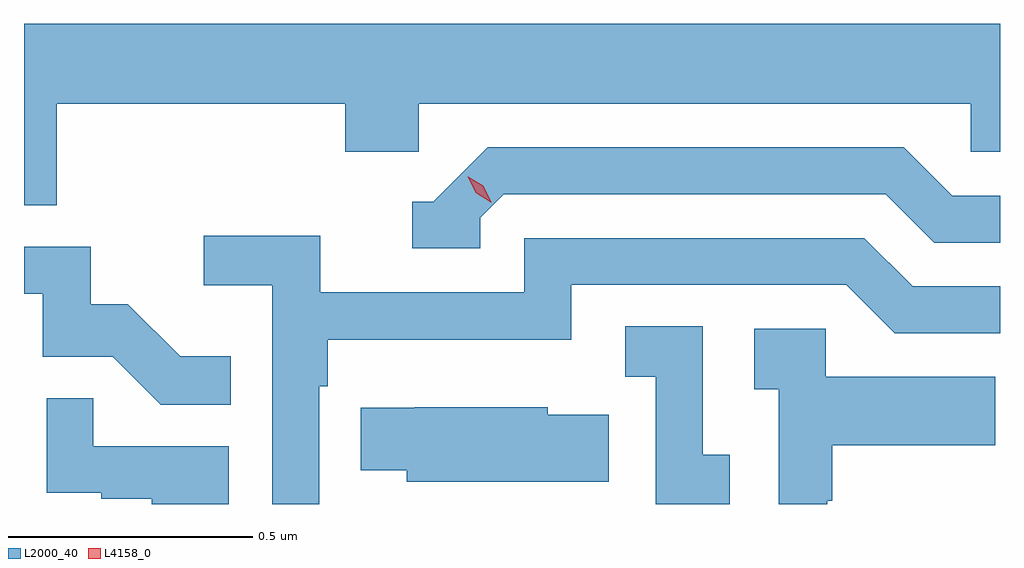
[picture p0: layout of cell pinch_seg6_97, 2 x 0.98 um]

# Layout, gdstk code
import gdstk
lib = gdstk.Library(unit=1e-6, precision=1e-09)
def P(c, l, *ps):  # polygons
    for p in ps: c.add(gdstk.Polygon(p, *l))
L2000_40 = (2000, 40)
L4158_0 = (4158, 0)

pinch_seg6_97 = lib.new_cell('pinch_seg6_97')
P(pinch_seg6_97, L2000_40, [(934.61,919.364),(935.201,919.364),(935.201,919.266),(935.352,919.266),(935.352,919.364),(936.483,919.364),(936.483,919.266),(936.543,919.266),(936.543,919.528),(934.543,919.528),(934.543,919.156),(934.61,919.156)],
  [(935.478,919.131),(935.526,919.179),(936.309,919.179),(936.408,919.08),(936.543,919.08),(936.543,919.176),(936.445,919.176),(936.346,919.275),(935.493,919.275),(935.382,919.164),(935.339,919.164),(935.339,919.068),(935.478,919.068)],
  [(935.148,918.785),(935.165,918.785),(935.165,918.881),(935.664,918.881),(935.664,918.993),(936.228,918.993),(936.327,918.894),(936.543,918.894),(936.543,918.99),(936.364,918.99),(936.265,919.089),(935.568,919.089),(935.568,918.978),(935.15,918.978),(935.15,919.094),(934.911,919.094),(934.911,918.992),(935.052,918.992),(935.052,918.544),(935.148,918.544)],
  [(934.967,918.847),(934.863,918.847),(934.756,918.954),(934.68,918.954),(934.68,919.071),(934.543,919.071),(934.543,918.975),(934.581,918.975),(934.581,918.846),(934.725,918.846),(934.823,918.748),(934.967,918.748)],
  [(935.989,918.645),(935.934,918.645),(935.934,918.908),(935.775,918.908),(935.775,918.805),(935.838,918.805),(935.838,918.544),(935.989,918.544)],
  [(936.189,918.551),(936.199,918.551),(936.199,918.665),(936.533,918.665),(936.533,918.805),(936.186,918.805),(936.186,918.903),(936.039,918.903),(936.039,918.779),(936.09,918.779),(936.09,918.544),(936.189,918.544)],
  [(934.963,918.663),(934.685,918.663),(934.685,918.761),(934.59,918.761),(934.59,918.567),(934.701,918.567),(934.701,918.555),(934.805,918.555),(934.805,918.544),(934.963,918.544)],
  [(935.741,918.727),(935.616,918.727),(935.616,918.742),(935.344,918.742),(935.344,918.741),(935.233,918.741),(935.233,918.613),(935.327,918.613),(935.327,918.59),(935.741,918.59)])
P(pinch_seg6_97, L4158_0, [(935.499,919.163),(935.469,919.182),(935.452,919.215),(935.452,919.215),(935.453,919.215),(935.484,919.196),(935.5,919.163),(935.5,919.163)])

lib.write_gds('pinch_seg6_97.gds')
